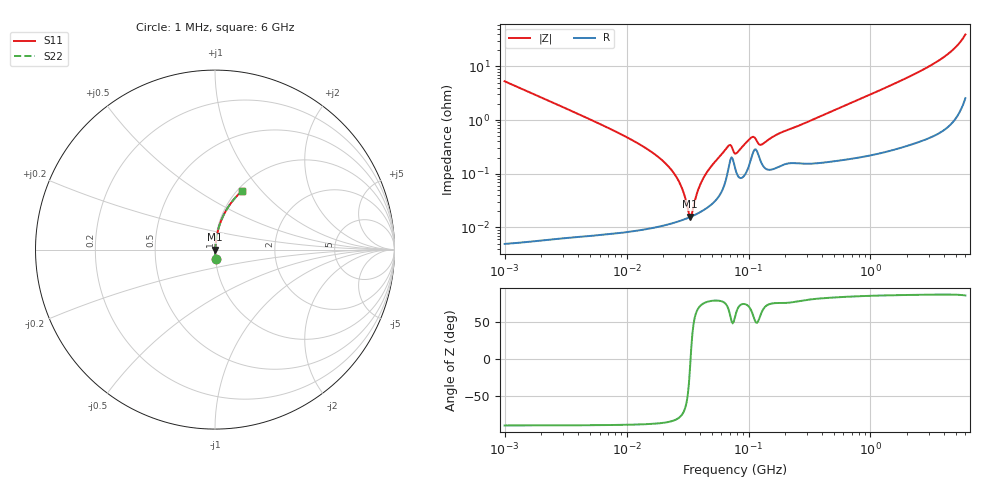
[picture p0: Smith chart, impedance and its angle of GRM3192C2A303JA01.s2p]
!Murata Part Number: GRM3192C2A303JA01
!These Parameters are Measured in Series Mode Connection
!Data Generated on Mar 30, 2021
!  o--ll--o
!Port1  Port2
!  o------o
!Operation Temp=25[degC], DC Bias Voltage=0[V]
!Freq. Start=1000[kHz] Stop=6[GHz] 401[Steps]
# Hz S RI R 50
!Freq.(Hz) S11(Real) S11(Imag) S21(Real) S21(Imag) S12(Real) S12(Imag) S22(Real) S22(Imag)
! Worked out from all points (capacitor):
!   401 points, 1 MHz to 6 GHz, reference 50 ohm
!   read as one part in series: C = 30.1 nF near 1.044 MHz
!   lowest |Z| = 15.9 mohm at 33.17 MHz (marker M1)
!   series resonance near 33.48 MHz, so ESL is about 750 pH
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1000000  0.00282 -0.0526  0.9972 0.0526  0.9972 0.0526  0.00282 -0.0526
4293785  0.000213 -0.0121  0.9998 0.0121  0.9998 0.0121  0.000213 -0.0121
1.093935e7  0.000102 -0.00431  0.9999 0.00431  0.9999 0.00431  0.000102 -0.00431
1.843659e7  0.000107 -0.002  0.9999 0.002  0.9999 0.002  0.000107 -0.002
2.242276e7  0.000117 -0.0013  0.9999 0.0013  0.9999 0.0013  0.000117 -0.0013
2.610999e7  0.000128 -0.000798  0.9999 0.000798  0.9999 0.000798  0.000128 -0.000798
2.848316e7  0.000136 -0.000517  0.9999 0.000517  0.9999 0.000517  0.000136 -0.000517
3.175522e7  0.000149 -0.000169  0.9999 0.000169  0.9999 0.000169  0.000149 -0.000169
3.316698e7  0.000156 -2.96e-05  0.9998 2.96e-05  0.9998 2.96e-05  0.000156 -2.96e-05
3.46415e7  0.000163 0.00011  0.9998 -0.00011  0.9998 -0.00011  0.000163 0.00011
4.033799e7  0.000194 0.000611  0.9998 -0.000611  0.9998 -0.000611  0.000194 0.000611
4.800399e7  0.000252 0.00123  0.9997 -0.00123  0.9997 -0.00123  0.000252 0.00123
6.798347e7  0.00116 0.00303  0.9988 -0.00303  0.9988 -0.00303  0.00116 0.00303
7.100585e7  0.00183 0.0029  0.9982 -0.0029  0.9982 -0.0029  0.00183 0.0029
7.745967e7  0.00129 0.00199  0.9987 -0.00199  0.9987 -0.00199  0.00129 0.00199
1.050294e8  0.00191 0.00428  0.9981 -0.00428  0.9981 -0.00428  0.00191 0.00428
1.277378e8  0.00159 0.00309  0.9984 -0.00309  0.9984 -0.00309  0.00159 0.00309
1.770109e8  0.00137 0.00541  0.9986 -0.00541  0.9986 -0.00541  0.00137 0.00541
3.325952e8  0.00164 0.00991  0.9984 -0.00991  0.9984 -0.00991  0.00164 0.00991
1.428092e9  0.00447 0.0427  0.9955 -0.0427  0.9955 -0.0427  0.00447 0.0427
3.638376e9  0.0217 0.1253  0.9783 -0.1253  0.9783 -0.1253  0.0217 0.1253
6e9  0.1491 0.325  0.8509 -0.325  0.8509 -0.325  0.1491 0.325
